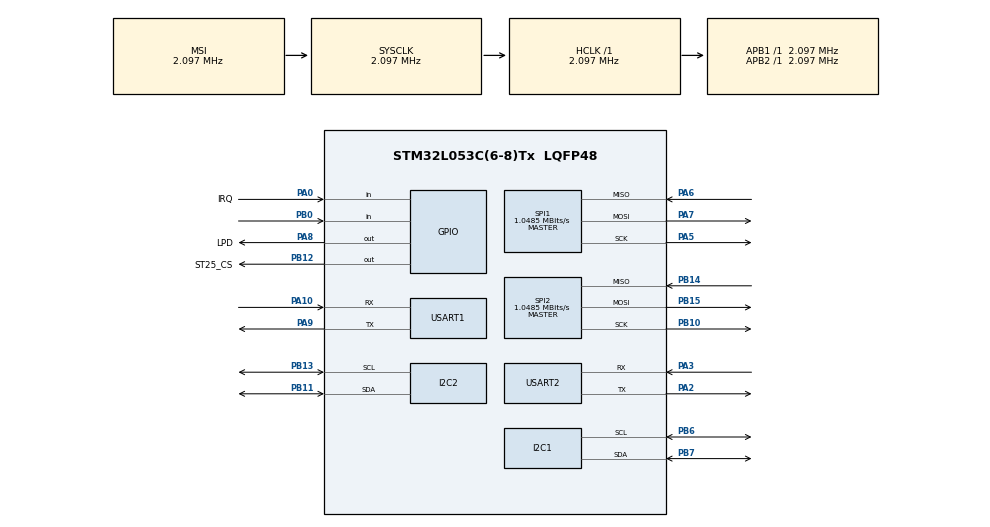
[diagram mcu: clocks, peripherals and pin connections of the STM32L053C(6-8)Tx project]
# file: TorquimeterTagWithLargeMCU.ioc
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I2C1.Timing=0x00503D58
I2C2.Timing=0x00000608
Mcu.Family=STM32L0
Mcu.Name=STM32L053C(6-8)Tx
Mcu.Package=LQFP48
PA0.GPIO_Label=IRQ
PA0.Signal=GPIO_Input
PA10.Mode=Asynchronous
PA10.Signal=USART1_RX
PA2.Mode=Asynchronous
PA2.Signal=USART2_TX
PA3.Mode=Asynchronous
PA3.Signal=USART2_RX
PA5.Mode=Full_Duplex_Master
PA5.Signal=SPI1_SCK
PA6.Mode=Full_Duplex_Master
PA6.Signal=SPI1_MISO
PA7.Mode=Full_Duplex_Master
PA7.Signal=SPI1_MOSI
PA8.GPIO_Label=LPD
PA8.Signal=GPIO_Output
PA9.Mode=Asynchronous
PA9.Signal=USART1_TX
PB0.Signal=GPIO_Input
PB10.Mode=Full_Duplex_Master
PB10.Signal=SPI2_SCK
PB11.Mode=I2C
PB11.Signal=I2C2_SDA
PB12.GPIO_Label=ST25_CS
PB12.PinState=GPIO_PIN_SET
PB12.Signal=GPIO_Output
PB13.Mode=I2C
PB13.Signal=I2C2_SCL
PB14.Mode=Full_Duplex_Master
PB14.Signal=SPI2_MISO
PB15.Mode=Full_Duplex_Master
PB15.Signal=SPI2_MOSI
PB6.Mode=I2C
PB6.Signal=I2C1_SCL
PB7.Mode=I2C
PB7.Signal=I2C1_SDA
ProjectManager.HeapSize=0x200
ProjectManager.StackSize=0x400
ProjectManager.TargetToolchain=STM32CubeIDE
RCC.AHBFreq_Value=2097000
RCC.APB1Freq_Value=2097000
RCC.APB1TimFreq_Value=2097000
RCC.APB2Freq_Value=2097000
RCC.APB2TimFreq_Value=2097000
RCC.HSE_VALUE=8000000
RCC.HSI16_VALUE=16000000
RCC.HSI48_VALUE=48000000
RCC.HSI_VALUE=16000000
RCC.I2c1ClockSelection=RCC_I2C1CLKSOURCE_HSI
RCC.LSE_VALUE=32768
RCC.MSI_VALUE=2097000
RCC.SYSCLKFreq_VALUE=2097000
RCC.Usart1ClockSelection=RCC_USART1CLKSOURCE_HSI
RCC.VCOOutputFreq_Value=48000000
SPI1.CalculateBaudRate=1.0485 MBits/s
SPI1.Direction=SPI_DIRECTION_2LINES
SPI1.Mode=SPI_MODE_MASTER
SPI1.VirtualType=VM_MASTER
SPI2.CLKPhase=SPI_PHASE_2EDGE
SPI2.CalculateBaudRate=1.0485 MBits/s
SPI2.Direction=SPI_DIRECTION_2LINES
SPI2.Mode=SPI_MODE_MASTER
SPI2.VirtualType=VM_MASTER
USART1.VirtualMode-Asynchronous=VM_ASYNC
USART2.VirtualMode-Asynchronous=VM_ASYNC
board=custom

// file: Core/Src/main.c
/* USER CODE BEGIN Header */
// NFC TAG
/**
 ******************************************************************************
 * @file           : main.c
 * @brief          : Main program body
 ******************************************************************************
 * @attention
 *
 * Copyright (c) 2025 STMicroelectronics.
 * All rights reserved.
 *
 * This software is licensed under terms that can be found in the LICENSE file
 * in the root directory of this software component.
 * If no LICENSE file comes with this software, it is provided AS-IS.
 *
 ******************************************************************************
 */
/* USER CODE END Header */
#include "main.h"

/* USER CODE BEGIN Includes */
#include "string.h"
#include <stdlib.h>
/* USER CODE END Includes */

/* USER CODE BEGIN PD */
#define LSB_UV 63
// Ajuste este valor na calibração prática com um peso conhecido
#define USTRAIN_PER_BIT_x1000 1506

#define ADS1115_ADDR  (0x48 << 1)

#define ADS_REG_CONV  0x00
#define ADS_REG_CONF  0x01

#define CHARGING_INTERVAL_TICKS 1

#define READING_SAMPLING_INTERVAL_MS 4

#define SAMPLES_FOR_TARING 10
#define SAMPLES_FOR_READING 10

int32_t strain_uE = 0;
int32_t voltage_uV = 0;

uint32_t last_charging_process = 0;

typedef enum {
	CHARGING = 1, TARING = 2, READING = 3, PROCESSING = 4,
} Process_State;

uint8_t isTared = 0;

Process_State state = CHARGING;
/* USER CODE END PD */

I2C_HandleTypeDef hi2c1;
I2C_HandleTypeDef hi2c2;

SPI_HandleTypeDef hspi1;
SPI_HandleTypeDef hspi2;

UART_HandleTypeDef huart1;
UART_HandleTypeDef huart2;

void SystemClock_Config(void);
static void MX_GPIO_Init(void);
static void MX_I2C2_Init(void);
static void MX_SPI1_Init(void);
static void MX_SPI2_Init(void);
static void MX_USART1_UART_Init(void);
static void MX_USART2_UART_Init(void);
static void MX_I2C1_Init(void);
/* USER CODE BEGIN PFP */
#define DEBUG

#ifdef DEBUG
#define DEBUG_PRINT(msg) HAL_UART_Transmit(&huart1, (uint8_t*)msg, strlen(msg), 200)
#else
#define DEBUG_PRINT(msg) do {} while (0)
#endif
void I2C_Scanner(I2C_HandleTypeDef *hi2c);
/* USER CODE END PFP */

/* USER CODE BEGIN 0 */
/* Função auxiliar para converter byte em Hex (ex: 0x2A) sem usar sprintf */
/* Requer um buffer de pelo menos 3 bytes (2 digitos + \0) */
void Uint8ToHexStr(uint8_t num, char *str) {
	const char hexDigits[] = "0123456789ABCDEF";
	str[0] = hexDigits[(num >> 4) & 0x0F]; // Nibble alto
	str[1] = hexDigits[num & 0x0F];        // Nibble baixo
	str[2] = '\0';                         // Terminador nulo
}

/* Função auxiliar para converter Inteiro em String decimal simples */
void IntToDecStr(uint8_t num, char *str) {
	uint8_t i = 0;
	if (num >= 100)
		str[i++] = (num / 100) + '0';
	if (num >= 10)
		str[i++] = ((num / 10) % 10) + '0';
	str[i++] = (num % 10) + '0';
	str[i] = '\0';
}

void I2C_Scanner(I2C_HandleTypeDef *hi2c) {
	// Reduzido de 64 bytes para apenas 4 bytes!
	char smallBuf[4];
	uint8_t devices_found = 0;

	DEBUG_PRINT("\r\n--- Scanning I2C bus ---\r\n");

	for (uint8_t addr = 1; addr < 128; addr++) {
		/* O HAL usa o endereço deslocado (shifted) à esquerda */
		if (HAL_I2C_IsDeviceReady(hi2c, (uint16_t) (addr << 1), 2, 10)
				== HAL_OK) {

			// Imprime em partes para não precisar de um buffer gigante
			DEBUG_PRINT("Device found at: 0x");

			// Converte endereço 7-bit
			Uint8ToHexStr(addr, smallBuf);
			DEBUG_PRINT(smallBuf);

			DEBUG_PRINT(" (8-bit: 0x");

			// Converte endereço 8-bit (write address)
			Uint8ToHexStr(addr << 1, smallBuf);
			DEBUG_PRINT(smallBuf);

			DEBUG_PRINT(")\r\n");

			devices_found++;
		}
	}

	if (devices_found == 0) {
		DEBUG_PRINT("No I2C devices found!\r\n");
	} else {
		DEBUG_PRINT("\r\nTotal devices found: ");
		IntToDecStr(devices_found, smallBuf);
		DEBUG_PRINT(smallBuf);
		DEBUG_PRINT("\r\n");
	}

	DEBUG_PRINT("--- Scan Complete ---\r\n");
}

int16_t ADS1115_Read(void) {
	uint8_t config[3];
	uint8_t data[2];
	int16_t raw_val;

	config[0] = ADS_REG_CONF;
	// --- CONFIGURAÇÃO DO MSB (Byte mais significativo) ---
	// Bit 15 (OS): 1 (Start Single Conversion)
	// Bits 14-12 (MUX): 100 -> AIN0 vs GND (Single-Ended) <--- CORRETO PARA SEU CIRCUITO
	// Bits 11-9 (PGA): 010 -> +/- 2.048V (Cobre seu range de 0 a 2V)
	// Bit 8 (MODE): 1 (Single-Shot)
	// Binário: 1100 0101 = 0xC5
	config[1] = 0xC5;

	// --- CONFIGURAÇÃO DO LSB (Byte menos significativo) ---
	// Bits 7-5 (DR): 100 -> 128 SPS (Padrão)
	// Bits 4-0 (COMP): Padrão (Disable comparator)
	// Binário: 1000 0011 = 0x83
	config[2] = 0x83;

	if (HAL_I2C_Master_Transmit(&hi2c1, ADS1115_ADDR, config, 3, 100) != HAL_OK)
		return -1;

	HAL_Delay(10);

	uint8_t reg_ptr = ADS_REG_CONV;
	HAL_I2C_Master_Transmit(&hi2c1, ADS1115_ADDR, &reg_ptr, 1, 100);

	if (HAL_I2C_Master_Receive(&hi2c1, ADS1115_ADDR, data, 2, 100) == HAL_OK) {
		raw_val = (int16_t) ((data[0] << 8) | data[1]);
		return raw_val;
	}
	return -1;
}

void debug_print_int(int32_t v) {
#ifdef DEBUG  // <--- INÍCIO DO BLOCO CONDICIONAL
	char buf[12];
	int i = 9;

	if (v < 0) {
		// Se quiser imprimir o sinal, descomente a linha abaixo
		HAL_UART_Transmit(&huart1, (uint8_t*) "-", 1, 100);
		v = -v;
	}

	do {
		buf[i--] = '0' + (v % 10);
		v /= 10;
	} while (v);

	buf[10] = '\r';
	buf[11] = '\n';

	// Envia o buffer processado
	HAL_UART_Transmit(&huart1, (uint8_t*) &buf[i + 1], 11 - i, 100);
#endif // <--- FIM DO BLOCO CONDICIONAL
}

int32_t platform_i2c_write(uint8_t addr, uint16_t reg, uint8_t *data,
		uint16_t len) {
	return HAL_I2C_Mem_Write(&hi2c1, addr << 1, reg, I2C_MEMADD_SIZE_16BIT,
			data, len, 100);
}

int32_t platform_i2c_read(uint8_t addr, uint16_t reg, uint8_t *data,
		uint16_t len) {
	return HAL_I2C_Mem_Read(&hi2c1, addr << 1, reg, I2C_MEMADD_SIZE_16BIT, data,
			len, 100);
}

void platform_set_lpd(uint8_t state) {
	HAL_GPIO_WritePin(LPD_GPIO_Port, LPD_Pin,
			state ? GPIO_PIN_SET : GPIO_PIN_RESET);
}

void platform_delay(uint32_t ms) {
	HAL_Delay(ms);
}

/* USER CODE END 0 */

int main(void)
{

  /* MCU Configuration--------------------------------------------------------*/

  /* Reset of all peripherals, Initializes the Flash interface and the Systick. */
  HAL_Init();

  /* Configure the system clock */
  SystemClock_Config();

  /* Initialize all configured peripherals */
  MX_GPIO_Init();
  MX_I2C2_Init();
  MX_SPI1_Init();
  MX_SPI2_Init();
  MX_USART1_UART_Init();
  MX_USART2_UART_Init();
  MX_I2C1_Init();
  /* USER CODE BEGIN 2 */
	DEBUG_PRINT("--- Iniciando! ---\r\n");
	I2C_Scanner(&hi2c1);

	DEBUG_PRINT("Starting...\r\n");
  /* USER CODE END 2 */

  /* Infinite loop */
  /* USER CODE BEGIN WHILE */
	while (1) {

		HAL_Delay(1000);
    /* USER CODE END WHILE */

	}
}

void SystemClock_Config(void)
{
  RCC_OscInitTypeDef RCC_OscInitStruct = {0};
  RCC_ClkInitTypeDef RCC_ClkInitStruct = {0};
  RCC_PeriphCLKInitTypeDef PeriphClkInit = {0};

  /** Configure the main internal regulator output voltage
  */
  __HAL_PWR_VOLTAGESCALING_CONFIG(PWR_REGULATOR_VOLTAGE_SCALE1);

  /** Initializes the RCC Oscillators according to the specified parameters
  * in the RCC_OscInitTypeDef structure.
  */
  RCC_OscInitStruct.OscillatorType = RCC_OSCILLATORTYPE_HSI|RCC_OSCILLATORTYPE_MSI;
  RCC_OscInitStruct.HSIState = RCC_HSI_ON;
  RCC_OscInitStruct.HSICalibrationValue = RCC_HSICALIBRATION_DEFAULT;
  RCC_OscInitStruct.MSIState = RCC_MSI_ON;
  RCC_OscInitStruct.MSICalibrationValue = 0;
  RCC_OscInitStruct.MSIClockRange = RCC_MSIRANGE_5;
  RCC_OscInitStruct.PLL.PLLState = RCC_PLL_NONE;
  if (HAL_RCC_OscConfig(&RCC_OscInitStruct) != HAL_OK)
  {
    Error_Handler();
  }

  /** Initializes the CPU, AHB and APB buses clocks
  */
  RCC_ClkInitStruct.ClockType = RCC_CLOCKTYPE_HCLK|RCC_CLOCKTYPE_SYSCLK
                              |RCC_CLOCKTYPE_PCLK1|RCC_CLOCKTYPE_PCLK2;
  RCC_ClkInitStruct.SYSCLKSource = RCC_SYSCLKSOURCE_MSI;
  RCC_ClkInitStruct.AHBCLKDivider = RCC_SYSCLK_DIV1;
  RCC_ClkInitStruct.APB1CLKDivider = RCC_HCLK_DIV1;
  RCC_ClkInitStruct.APB2CLKDivider = RCC_HCLK_DIV1;

  if (HAL_RCC_ClockConfig(&RCC_ClkInitStruct, FLASH_LATENCY_0) != HAL_OK)
  {
    Error_Handler();
  }
  PeriphClkInit.PeriphClockSelection = RCC_PERIPHCLK_USART1|RCC_PERIPHCLK_USART2
                              |RCC_PERIPHCLK_I2C1;
  PeriphClkInit.Usart1ClockSelection = RCC_USART1CLKSOURCE_HSI;
  PeriphClkInit.Usart2ClockSelection = RCC_USART2CLKSOURCE_PCLK1;
  PeriphClkInit.I2c1ClockSelection = RCC_I2C1CLKSOURCE_HSI;
  if (HAL_RCCEx_PeriphCLKConfig(&PeriphClkInit) != HAL_OK)
  {
    Error_Handler();
  }
}

static void MX_I2C1_Init(void)
{

  hi2c1.Instance = I2C1;
  hi2c1.Init.Timing = 0x00503D58;
  hi2c1.Init.OwnAddress1 = 0;
  hi2c1.Init.AddressingMode = I2C_ADDRESSINGMODE_7BIT;
  hi2c1.Init.DualAddressMode = I2C_DUALADDRESS_DISABLE;
  hi2c1.Init.OwnAddress2 = 0;
  hi2c1.Init.OwnAddress2Masks = I2C_OA2_NOMASK;
  hi2c1.Init.GeneralCallMode = I2C_GENERALCALL_DISABLE;
  hi2c1.Init.NoStretchMode = I2C_NOSTRETCH_DISABLE;
  if (HAL_I2C_Init(&hi2c1) != HAL_OK)
  {
    Error_Handler();
  }

  /** Configure Analogue filter
  */
  if (HAL_I2CEx_ConfigAnalogFilter(&hi2c1, I2C_ANALOGFILTER_ENABLE) != HAL_OK)
  {
    Error_Handler();
  }

  /** Configure Digital filter
  */
  if (HAL_I2CEx_ConfigDigitalFilter(&hi2c1, 0) != HAL_OK)
  {
    Error_Handler();
  }

}

static void MX_I2C2_Init(void)
{

  hi2c2.Instance = I2C2;
  hi2c2.Init.Timing = 0x00000608;
  hi2c2.Init.OwnAddress1 = 0;
  hi2c2.Init.AddressingMode = I2C_ADDRESSINGMODE_7BIT;
  hi2c2.Init.DualAddressMode = I2C_DUALADDRESS_DISABLE;
  hi2c2.Init.OwnAddress2 = 0;
  hi2c2.Init.OwnAddress2Masks = I2C_OA2_NOMASK;
  hi2c2.Init.GeneralCallMode = I2C_GENERALCALL_DISABLE;
  hi2c2.Init.NoStretchMode = I2C_NOSTRETCH_DISABLE;
  if (HAL_I2C_Init(&hi2c2) != HAL_OK)
  {
    Error_Handler();
  }

  /** Configure Analogue filter
  */
  if (HAL_I2CEx_ConfigAnalogFilter(&hi2c2, I2C_ANALOGFILTER_ENABLE) != HAL_OK)
  {
    Error_Handler();
  }

  /** Configure Digital filter
  */
  if (HAL_I2CEx_ConfigDigitalFilter(&hi2c2, 0) != HAL_OK)
  {
    Error_Handler();
  }

}

static void MX_SPI1_Init(void)
{

  /* SPI1 parameter configuration*/
  hspi1.Instance = SPI1;
  hspi1.Init.Mode = SPI_MODE_MASTER;
  hspi1.Init.Direction = SPI_DIRECTION_2LINES;
  hspi1.Init.DataSize = SPI_DATASIZE_8BIT;
  hspi1.Init.CLKPolarity = SPI_POLARITY_LOW;
  hspi1.Init.CLKPhase = SPI_PHASE_1EDGE;
  hspi1.Init.NSS = SPI_NSS_SOFT;
  hspi1.Init.BaudRatePrescaler = SPI_BAUDRATEPRESCALER_2;
  hspi1.Init.FirstBit = SPI_FIRSTBIT_MSB;
  hspi1.Init.TIMode = SPI_TIMODE_DISABLE;
  hspi1.Init.CRCCalculation = SPI_CRCCALCULATION_DISABLE;
  hspi1.Init.CRCPolynomial = 7;
  if (HAL_SPI_Init(&hspi1) != HAL_OK)
  {
    Error_Handler();
  }

}

static void MX_SPI2_Init(void)
{

  /* SPI2 parameter configuration*/
  hspi2.Instance = SPI2;
  hspi2.Init.Mode = SPI_MODE_MASTER;
  hspi2.Init.Direction = SPI_DIRECTION_2LINES;
  hspi2.Init.DataSize = SPI_DATASIZE_8BIT;
  hspi2.Init.CLKPolarity = SPI_POLARITY_LOW;
  hspi2.Init.CLKPhase = SPI_PHASE_2EDGE;
  hspi2.Init.NSS = SPI_NSS_SOFT;
  hspi2.Init.BaudRatePrescaler = SPI_BAUDRATEPRESCALER_2;
  hspi2.Init.FirstBit = SPI_FIRSTBIT_MSB;
  hspi2.Init.TIMode = SPI_TIMODE_DISABLE;
  hspi2.Init.CRCCalculation = SPI_CRCCALCULATION_DISABLE;
  hspi2.Init.CRCPolynomial = 7;
  if (HAL_SPI_Init(&hspi2) != HAL_OK)
  {
    Error_Handler();
  }

}

static void MX_USART1_UART_Init(void)
{

  huart1.Instance = USART1;
  huart1.Init.BaudRate = 115200;
  huart1.Init.WordLength = UART_WORDLENGTH_8B;
  huart1.Init.StopBits = UART_STOPBITS_1;
  huart1.Init.Parity = UART_PARITY_NONE;
  huart1.Init.Mode = UART_MODE_TX_RX;
  huart1.Init.HwFlowCtl = UART_HWCONTROL_NONE;
  huart1.Init.OverSampling = UART_OVERSAMPLING_16;
  huart1.Init.OneBitSampling = UART_ONE_BIT_SAMPLE_DISABLE;
  huart1.AdvancedInit.AdvFeatureInit = UART_ADVFEATURE_NO_INIT;
  if (HAL_UART_Init(&huart1) != HAL_OK)
  {
    Error_Handler();
  }

}

static void MX_USART2_UART_Init(void)
{

  huart2.Instance = USART2;
  huart2.Init.BaudRate = 115200;
  huart2.Init.WordLength = UART_WORDLENGTH_8B;
  huart2.Init.StopBits = UART_STOPBITS_1;
  huart2.Init.Parity = UART_PARITY_NONE;
  huart2.Init.Mode = UART_MODE_TX_RX;
  huart2.Init.HwFlowCtl = UART_HWCONTROL_NONE;
  huart2.Init.OverSampling = UART_OVERSAMPLING_16;
  huart2.Init.OneBitSampling = UART_ONE_BIT_SAMPLE_DISABLE;
  huart2.AdvancedInit.AdvFeatureInit = UART_ADVFEATURE_NO_INIT;
  if (HAL_UART_Init(&huart2) != HAL_OK)
  {
    Error_Handler();
  }

}

static void MX_GPIO_Init(void)
{
  GPIO_InitTypeDef GPIO_InitStruct = {0};

  /* GPIO Ports Clock Enable */
  __HAL_RCC_GPIOA_CLK_ENABLE();
  __HAL_RCC_GPIOB_CLK_ENABLE();

  /*Configure GPIO pin Output Level */
  HAL_GPIO_WritePin(ST25_CS_GPIO_Port, ST25_CS_Pin, GPIO_PIN_SET);

  /*Configure GPIO pin Output Level */
  HAL_GPIO_WritePin(LPD_GPIO_Port, LPD_Pin, GPIO_PIN_RESET);

  /*Configure GPIO pin : IRQ_Pin */
  GPIO_InitStruct.Pin = IRQ_Pin;
  GPIO_InitStruct.Mode = GPIO_MODE_INPUT;
  GPIO_InitStruct.Pull = GPIO_NOPULL;
  HAL_GPIO_Init(IRQ_GPIO_Port, &GPIO_InitStruct);

  /*Configure GPIO pin : PB0 */
  GPIO_InitStruct.Pin = GPIO_PIN_0;
  GPIO_InitStruct.Mode = GPIO_MODE_INPUT;
  GPIO_InitStruct.Pull = GPIO_NOPULL;
  HAL_GPIO_Init(GPIOB, &GPIO_InitStruct);

  /*Configure GPIO pin : ST25_CS_Pin */
  GPIO_InitStruct.Pin = ST25_CS_Pin;
  GPIO_InitStruct.Mode = GPIO_MODE_OUTPUT_PP;
  GPIO_InitStruct.Pull = GPIO_NOPULL;
  GPIO_InitStruct.Speed = GPIO_SPEED_FREQ_LOW;
  HAL_GPIO_Init(ST25_CS_GPIO_Port, &GPIO_InitStruct);

  /*Configure GPIO pin : LPD_Pin */
  GPIO_InitStruct.Pin = LPD_Pin;
  GPIO_InitStruct.Mode = GPIO_MODE_OUTPUT_PP;
  GPIO_InitStruct.Pull = GPIO_NOPULL;
  GPIO_InitStruct.Speed = GPIO_SPEED_FREQ_LOW;
  HAL_GPIO_Init(LPD_GPIO_Port, &GPIO_InitStruct);

}

void Error_Handler(void)
{
	__disable_irq();
	while (1) {
	}
}
#ifdef USE_FULL_ASSERT
/**
  * @brief  Reports the name of the source file and the source line number
  *         where the assert_param error has occurred.
  * @param  file: pointer to the source file name
  * @param  line: assert_param error line source number
  * @retval None
  */
void assert_failed(uint8_t *file, uint32_t line)
{
  /* USER CODE BEGIN 6 */
  /* User can add his own implementation to report the file name and line number,
     ex: DEBUG_PRINT("Wrong parameters value: file %s on line %d\r\n", file, line) */
  /* USER CODE END 6 */
}
#endif /* USE_FULL_ASSERT */
